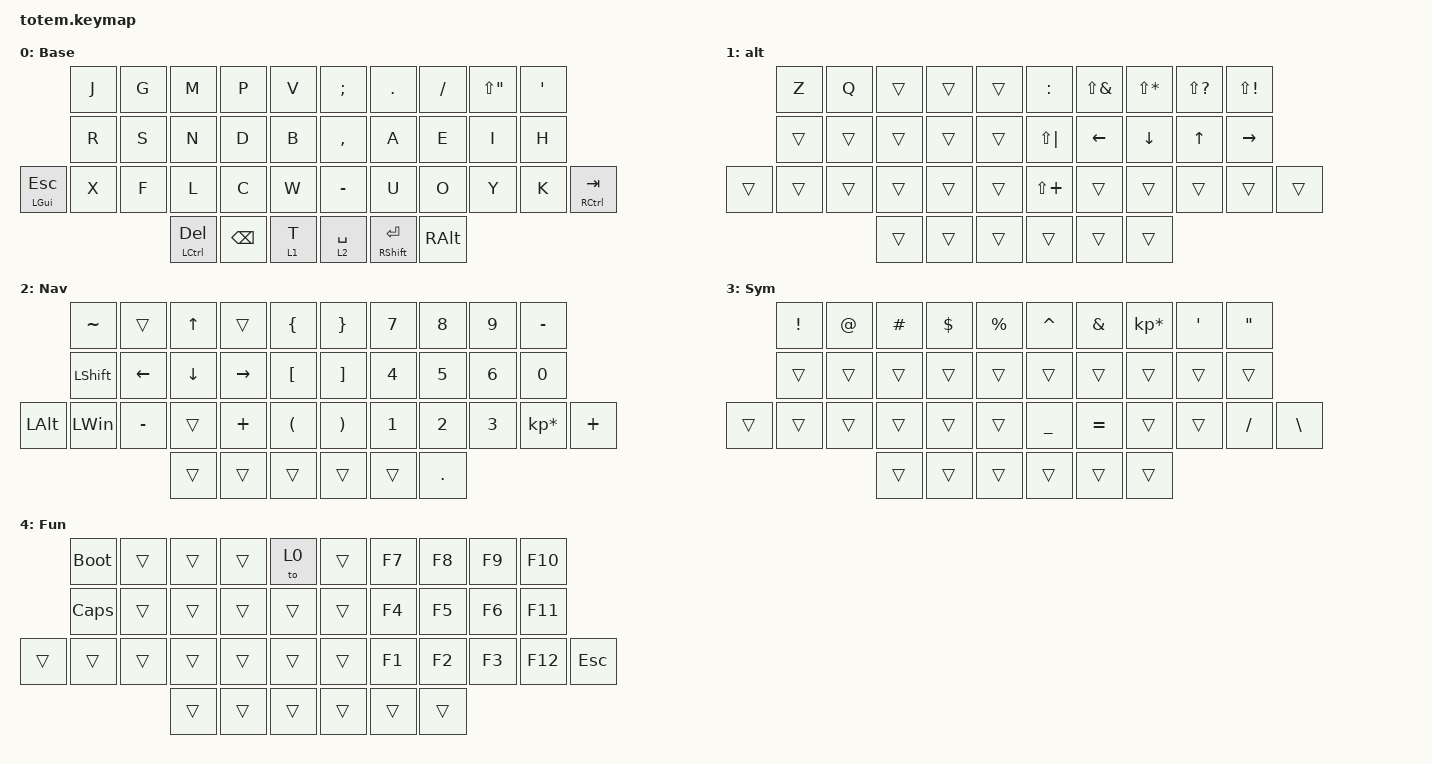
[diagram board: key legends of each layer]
//
//                                                        ▀▀▀▀▀     ▀▀▀▀▀          ▀▀█▀▀
//                                                        ▄▀▀▀▄  ▄  ▄▀▀▀▄  ▄  ▄▀▀▀▄  █  ▄▀▀▀▄
//                                                        █   █  █  █   █  █  █   █  █  █   █
//                                                         ▀▀▀   █   ▀▀▀   █   ▀▀▀   ▀   ▀▀▀
//                                                               █      ▄▄▄█▄▄▄    █   █  
//                                                               ▀      █  █  █     █▄█
//                                                             ▀▀▀▀▀    █  █  █      ▀
//                                                                      ▀  ▀  ▀
//
// ▄▄▄▄▄▄▄▄▄▄▄▄▄▄▄▄▄▄▄▄▄▄▄▄▄▄▄▄▄▄▄▄▄▄▄▄▄▄▄▄▄▄▄▄▄▄▄▄▄▄▄▄▄▄▄▄▄▄▄▄▄▄▄▄▄▄▄▄▄▄▄▄▄▄▄▄▄▄▄▄▄▄▄▄▄▄▄▄▄▄▄▄▄▄▄▄▄▄▄▄▄▄▄▄▄▄▄▄▄▄▄▄▄▄▄▄▄▄▄▄▄▄▄▄▄▄▄▄▄▄▄▄▄▄▄▄▄▄▄▄▄▄▄▄▄▄▄▄▄

#include <behaviors.dtsi>
#include <dt-bindings/zmk/keys.h>

#define Base        0
#define Media       1
#define Nav         2
#define Mouse       3
#define Sym         4
#define Num         5
#define Fun         6
#define Button      7
#define Game        8
#define Gameplus    9

&mt {
    quick-tap-ms = <100>;
    global-quick-tap;
    flavor = "tap-preferred";
    tapping-term-ms = <170>;
};

&lt {
    tapping-term-ms = <240>;
    flavor = "balanced";
    quick-tap-ms = <150>;
};

/ {
    behaviors {
        hm: homerow_mods {
            compatible = "zmk,behavior-hold-tap";
            label = "HOMEROW_MODS";
            #binding-cells = <2>;
            flavor = "tap-preferred";
            tapping-term-ms = <200>;
            quick-tap-ms = <125>;
            global-quick-tap;
            bindings = <&kp>, <&kp>;
        };
    };

    combos { compatible = "zmk,combos"; };

    keymap {
        compatible = "zmk,keymap";

        Base {
            label = "Base";
            bindings = <
                     &kp J  &kp G  &kp M             &kp P          &kp V      &kp SEMI     &kp DOT                &kp FSLH       &kp LS(DQT)  &kp APOS
                     &kp R  &kp S  &kp N             &kp D          &kp B      &kp COMMA    &kp A                  &kp E          &kp I        &kp H
&mt LEFT_GUI ESCAPE  &kp X  &kp F  &kp L             &kp C          &kp W      &kp MINUS    &kp U                  &kp O          &kp Y        &kp K     &mt RCTRL TAB
                                   &mt LCTRL DELETE  &kp BACKSPACE  &lt 1 T    &lt 2 SPACE  &mt RIGHT_SHIFT ENTER  &kp RIGHT_ALT
            >;
        };

        alt {
            bindings = <
        &kp Z   &kp Q   &trans  &trans  &trans    &kp COLON     &kp LS(AMPS)  &kp LS(STAR)  &kp LS(QMARK)  &kp LS(EXCL)
        &trans  &trans  &trans  &trans  &trans    &kp LS(PIPE)  &kp LEFT      &kp DOWN      &kp UP         &kp RIGHT
&trans  &trans  &trans  &trans  &trans  &trans    &kp LS(PLUS)  &trans        &trans        &trans         &trans        &trans
                        &trans  &trans  &trans    &trans        &trans        &trans
            >;
        };

        Nav {
            label = "Nav";
            bindings = <
              &kp TILDE       &trans     &kp UP_ARROW  &trans     &kp LBRC    &kp RBRC  &kp NUMBER_7  &kp NUMBER_8  &kp NUMBER_9  &kp MINUS
              &kp LEFT_SHIFT  &kp LEFT   &kp DOWN      &kp RIGHT  &kp LBKT    &kp RBKT  &kp NUMBER_4  &kp NUMBER_5  &kp NUMBER_6  &kp NUMBER_0
&kp LEFT_ALT  &kp LEFT_WIN    &kp MINUS  &trans        &kp PLUS   &kp LPAR    &kp RPAR  &kp NUMBER_1  &kp NUMBER_2  &kp NUMBER_3  &kp KP_MULTIPLY  &kp PLUS
                                         &trans        &trans     &trans      &trans    &trans        &kp DOT
            >;
        };

        Sym {
            label = "Sym";
            bindings = <
        &kp EXCL  &kp AT  &kp HASH  &kp DOLLAR  &kp PERCENT    &kp CARET  &kp AMPERSAND  &kp KP_ASTERISK  &kp SQT  &kp DQT
        &trans    &trans  &trans    &trans      &trans         &trans     &trans         &trans           &trans   &trans
&trans  &trans    &trans  &trans    &trans      &trans         &kp UNDER  &kp EQUAL      &trans           &trans   &kp SLASH  &kp BSLH
                          &trans    &trans      &trans         &trans     &trans         &trans
            >;
        };

        Fun {
            label = "Fun";
            bindings = <
        &bootloader  &trans  &trans  &trans  &to 0     &trans  &kp F7  &kp F8  &kp F9  &kp F10
        &kp CAPS     &trans  &trans  &trans  &trans    &trans  &kp F4  &kp F5  &kp F6  &kp F11
&trans  &trans       &trans  &trans  &trans  &trans    &trans  &kp F1  &kp F2  &kp F3  &kp F12  &kp ESC
                             &trans  &trans  &trans    &trans  &trans  &trans
            >;
        };
    };
};
